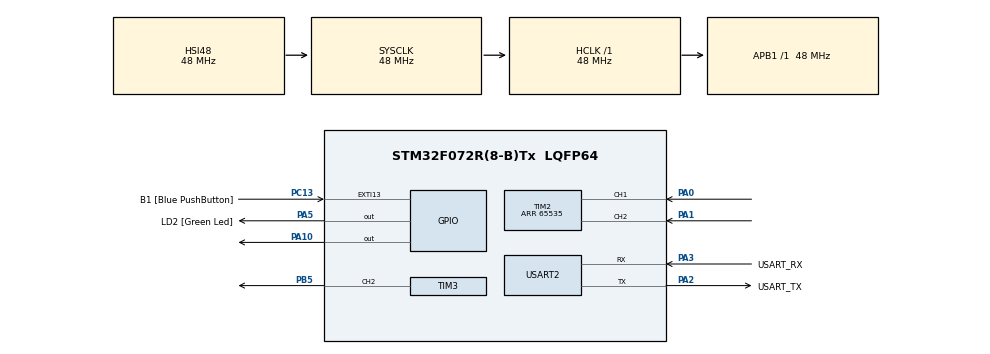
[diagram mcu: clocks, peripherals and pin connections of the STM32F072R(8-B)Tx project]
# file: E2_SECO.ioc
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Mcu.Family=STM32F0
Mcu.Name=STM32F072R(8-B)Tx
Mcu.Package=LQFP64
NVIC.TIM6_DAC_IRQn=true\:0\:0\:false\:false\:true\:true\:true
PA0.GPIO_ModeDefaultPP=GPIO_MODE_AF_PP
PA0.GPIO_PuPd=GPIO_PULLUP
PA0.GPIO_Speed=GPIO_SPEED_FREQ_LOW
PA0.Signal=S_TIM2_CH1_ETR
PA1.GPIO_PuPd=GPIO_PULLUP
PA1.Signal=S_TIM2_CH2
PA10.Signal=GPIO_Output
PA13.GPIO_Label=TMS
PA13.Mode=Serial_Wire
PA13.Signal=SYS_SWDIO
PA14.GPIO_Label=TCK
PA14.Mode=Serial_Wire
PA14.Signal=SYS_SWCLK
PA2.GPIO_Label=USART_TX
PA2.GPIO_Mode=GPIO_MODE_AF_PP
PA2.GPIO_PuPd=GPIO_NOPULL
PA2.GPIO_Speed=GPIO_SPEED_FREQ_LOW
PA2.Mode=Asynchronous
PA2.Signal=USART2_TX
PA3.GPIO_Label=USART_RX
PA3.GPIO_Mode=GPIO_MODE_AF_PP
PA3.GPIO_PuPd=GPIO_NOPULL
PA3.GPIO_Speed=GPIO_SPEED_FREQ_LOW
PA3.Mode=Asynchronous
PA3.Signal=USART2_RX
PA5.GPIO_Label=LD2 [Green Led]
PA5.GPIO_Mode=GPIO_MODE_OUTPUT_PP
PA5.GPIO_PuPd=GPIO_NOPULL
PA5.GPIO_Speed=GPIO_SPEED_FREQ_LOW
PA5.Signal=GPIO_Output
PB10.Signal=S_TIM2_CH3
PB11.Signal=S_TIM2_CH4
PB4.Signal=S_TIM3_CH1
PB5.Signal=S_TIM3_CH2
PC13.GPIO_Label=B1 [Blue PushButton]
PC13.GPIO_ModeDefaultEXTI=GPIO_MODE_IT_FALLING
PC13.Signal=GPXTI13
PC14-OSC32_IN.Mode=LSE-External-Oscillator
PC14-OSC32_IN.Signal=RCC_OSC32_IN
PC15-OSC32_OUT.Mode=LSE-External-Oscillator
PC15-OSC32_OUT.Signal=RCC_OSC32_OUT
PF0-OSC_IN.Mode=HSE-External-Clock-Source
PF0-OSC_IN.Signal=RCC_OSC_IN
PF1-OSC_OUT.Signal=RCC_OSC_OUT
ProjectManager.HeapSize=0x200
ProjectManager.StackSize=0x400
ProjectManager.TargetToolchain=STM32CubeIDE
RCC.AHBFreq_Value=48000000
RCC.APB1Freq_Value=48000000
RCC.APB1TimFreq_Value=48000000
RCC.FLatency-AdvancedSettings=FLASH_LATENCY_1
RCC.HCLKFreq_Value=48000000
RCC.PLLDivider=RCC_PREDIV_DIV2
RCC.PLLMUL=RCC_PLL_MUL12
RCC.PREFETCH_ENABLE-AdvancedSettings=1
RCC.SYSCLKFreq_VALUE=48000000
RCC.SYSCLKSource=RCC_SYSCLKSOURCE_HSI48
SH.S_TIM2_CH1_ETR.0=TIM2_CH1,Encoder_Interface
SH.S_TIM2_CH2.0=TIM2_CH2,Encoder_Interface
SH.S_TIM2_CH3.0=TIM2_CH3
SH.S_TIM2_CH4.0=TIM2_CH4
SH.S_TIM3_CH1.0=TIM3_CH1
SH.S_TIM3_CH2.0=TIM3_CH2,PWM Generation2 CH2
TIM2.EncoderMode=TIM_ENCODERMODE_TI12
TIM2.Period=65535
TIM3.Channel-PWM\ Generation2\ CH2=TIM_CHANNEL_2
TIM3.Period=99
TIM3.Prescaler=23
TIM3.Pulse-PWM\ Generation2\ CH2=0
TIM6.Period=999
TIM6.Prescaler=47
USART2.VirtualMode=VM_ASYNC
USART2.VirtualMode-Asynchronous=VM_ASYNC
VP_TIM3_VS_ClockSourceINT.Mode=Internal
VP_TIM6_VS_ClockSourceINT.Mode=Enable_Timer
board=NUCLEO-F072RB

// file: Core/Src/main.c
/* USER CODE BEGIN Header */
/**
  ******************************************************************************
  * @file           : main.c
  * @brief          : Main program body
  ******************************************************************************
  * @attention
  *
  * Copyright (c) 2022 STMicroelectronics.
  * All rights reserved.
  *
  * This software is licensed under terms that can be found in the LICENSE file
  * in the root directory of this software component.
  * If no LICENSE file comes with this software, it is provided AS-IS.
  *
  ******************************************************************************
  */
/* USER CODE END Header */
#include "main.h"

/* USER CODE BEGIN PD */
#define CPR 3592
#define MAX_COUNT 65535
#define POS 	1
int16_t start;
/* USER CODE END PD */

TIM_HandleTypeDef htim2;
TIM_HandleTypeDef htim3;
TIM_HandleTypeDef htim6;

UART_HandleTypeDef huart2;

void SystemClock_Config(void);
static void MX_GPIO_Init(void);
static void MX_USART2_UART_Init(void);
static void MX_TIM3_Init(void);
static void MX_TIM2_Init(void);
static void MX_TIM6_Init(void);
/* USER CODE BEGIN PFP */
void	move(int cycle1, int cycle2);
void	ft_move_wise(int	cycle, int	flag_w);
/* USER CODE END PFP */

int main(void)
{

  /* MCU Configuration--------------------------------------------------------*/

  /* Reset of all peripherals, Initializes the Flash interface and the Systick. */
  HAL_Init();

  /* USER CODE BEGIN Init */
  //casteo a int 16 bits para contemplar negativos

  /* USER CODE END Init */

  /* Configure the system clock */
  SystemClock_Config();

  /* Initialize all configured peripherals */
  MX_GPIO_Init();
  MX_USART2_UART_Init();
  MX_TIM3_Init();
  MX_TIM2_Init();
  MX_TIM6_Init();
  /* USER CODE BEGIN 2 */
  HAL_TIM_Base_Start_IT(&htim3);
  HAL_TIM_PWM_Start(&htim3, TIM_CHANNEL_2);
  HAL_TIM_PWM_Start(&htim3, TIM_CHANNEL_1);
  HAL_TIM_Encoder_Start_IT(&htim2, TIM_CHANNEL_ALL);
  HAL_TIM_Base_Start_IT(&htim6);
  HAL_GPIO_WritePin(GPIOA,GPIO_PIN_10, 0);
  move(0,0);
  HAL_Delay(500);
  //int	start = hti.Instance->CNT;
  /* USER CODE END 2 */

  /* Infinite loop */
  /* USER CODE BEGIN WHILE */
  //Esto hay que cambiarlo por interrupcciones del reloj y no un bucle infinito

  if (POS > 0)
	  ft_move_wise(50, 1);
  else
	  ft_move_wise(50, 0);
  HAL_GPIO_WritePin(GPIOA,GPIO_PIN_10, 1);
  __HAL_TIM_SET_COUNTER(&htim2, 0);
  start = TIM2->CNT;
  while (1)
  {
    /* USER CODE END WHILE */

    /* USER CODE BEGIN 3 */

	//  move(50, 0);
	  // Saber el valor por debugging tras unos instantes para comprobar que al menos tiene datos de entrada

	 // printf("ENCODER %lf\n", value - start);

  }
  /* USER CODE END 3 */
}

void SystemClock_Config(void)
{
  RCC_OscInitTypeDef RCC_OscInitStruct = {0};
  RCC_ClkInitTypeDef RCC_ClkInitStruct = {0};
  RCC_PeriphCLKInitTypeDef PeriphClkInit = {0};

  /** Initializes the RCC Oscillators according to the specified parameters
  * in the RCC_OscInitTypeDef structure.
  */
  RCC_OscInitStruct.OscillatorType = RCC_OSCILLATORTYPE_HSI48;
  RCC_OscInitStruct.HSI48State = RCC_HSI48_ON;
  RCC_OscInitStruct.PLL.PLLState = RCC_PLL_NONE;
  if (HAL_RCC_OscConfig(&RCC_OscInitStruct) != HAL_OK)
  {
    Error_Handler();
  }
  /** Initializes the CPU, AHB and APB buses clocks
  */
  RCC_ClkInitStruct.ClockType = RCC_CLOCKTYPE_HCLK|RCC_CLOCKTYPE_SYSCLK
                              |RCC_CLOCKTYPE_PCLK1;
  RCC_ClkInitStruct.SYSCLKSource = RCC_SYSCLKSOURCE_HSI48;
  RCC_ClkInitStruct.AHBCLKDivider = RCC_SYSCLK_DIV1;
  RCC_ClkInitStruct.APB1CLKDivider = RCC_HCLK_DIV1;

  if (HAL_RCC_ClockConfig(&RCC_ClkInitStruct, FLASH_LATENCY_1) != HAL_OK)
  {
    Error_Handler();
  }
  PeriphClkInit.PeriphClockSelection = RCC_PERIPHCLK_USART2;
  PeriphClkInit.Usart2ClockSelection = RCC_USART2CLKSOURCE_PCLK1;
  if (HAL_RCCEx_PeriphCLKConfig(&PeriphClkInit) != HAL_OK)
  {
    Error_Handler();
  }
}

static void MX_TIM2_Init(void)
{

  TIM_Encoder_InitTypeDef sConfig = {0};
  TIM_MasterConfigTypeDef sMasterConfig = {0};

  htim2.Instance = TIM2;
  htim2.Init.Prescaler = 0;
  htim2.Init.CounterMode = TIM_COUNTERMODE_UP;
  htim2.Init.Period = 65535;
  htim2.Init.ClockDivision = TIM_CLOCKDIVISION_DIV1;
  htim2.Init.AutoReloadPreload = TIM_AUTORELOAD_PRELOAD_DISABLE;
  sConfig.EncoderMode = TIM_ENCODERMODE_TI12;
  sConfig.IC1Polarity = TIM_ICPOLARITY_RISING;
  sConfig.IC1Selection = TIM_ICSELECTION_DIRECTTI;
  sConfig.IC1Prescaler = TIM_ICPSC_DIV1;
  sConfig.IC1Filter = 0;
  sConfig.IC2Polarity = TIM_ICPOLARITY_RISING;
  sConfig.IC2Selection = TIM_ICSELECTION_DIRECTTI;
  sConfig.IC2Prescaler = TIM_ICPSC_DIV1;
  sConfig.IC2Filter = 0;
  if (HAL_TIM_Encoder_Init(&htim2, &sConfig) != HAL_OK)
  {
    Error_Handler();
  }
  sMasterConfig.MasterOutputTrigger = TIM_TRGO_RESET;
  sMasterConfig.MasterSlaveMode = TIM_MASTERSLAVEMODE_DISABLE;
  if (HAL_TIMEx_MasterConfigSynchronization(&htim2, &sMasterConfig) != HAL_OK)
  {
    Error_Handler();
  }

}

static void MX_TIM3_Init(void)
{

  TIM_ClockConfigTypeDef sClockSourceConfig = {0};
  TIM_MasterConfigTypeDef sMasterConfig = {0};
  TIM_OC_InitTypeDef sConfigOC = {0};

  htim3.Instance = TIM3;
  htim3.Init.Prescaler = 23;
  htim3.Init.CounterMode = TIM_COUNTERMODE_UP;
  htim3.Init.Period = 99;
  htim3.Init.ClockDivision = TIM_CLOCKDIVISION_DIV1;
  htim3.Init.AutoReloadPreload = TIM_AUTORELOAD_PRELOAD_DISABLE;
  if (HAL_TIM_Base_Init(&htim3) != HAL_OK)
  {
    Error_Handler();
  }
  sClockSourceConfig.ClockSource = TIM_CLOCKSOURCE_INTERNAL;
  if (HAL_TIM_ConfigClockSource(&htim3, &sClockSourceConfig) != HAL_OK)
  {
    Error_Handler();
  }
  if (HAL_TIM_PWM_Init(&htim3) != HAL_OK)
  {
    Error_Handler();
  }
  sMasterConfig.MasterOutputTrigger = TIM_TRGO_RESET;
  sMasterConfig.MasterSlaveMode = TIM_MASTERSLAVEMODE_DISABLE;
  if (HAL_TIMEx_MasterConfigSynchronization(&htim3, &sMasterConfig) != HAL_OK)
  {
    Error_Handler();
  }
  sConfigOC.OCMode = TIM_OCMODE_PWM1;
  sConfigOC.Pulse = 0;
  sConfigOC.OCPolarity = TIM_OCPOLARITY_HIGH;
  sConfigOC.OCFastMode = TIM_OCFAST_DISABLE;
  if (HAL_TIM_PWM_ConfigChannel(&htim3, &sConfigOC, TIM_CHANNEL_2) != HAL_OK)
  {
    Error_Handler();
  }
  HAL_TIM_MspPostInit(&htim3);

}

static void MX_TIM6_Init(void)
{

  TIM_MasterConfigTypeDef sMasterConfig = {0};

  htim6.Instance = TIM6;
  htim6.Init.Prescaler = 47;
  htim6.Init.CounterMode = TIM_COUNTERMODE_UP;
  htim6.Init.Period = 999;
  htim6.Init.AutoReloadPreload = TIM_AUTORELOAD_PRELOAD_DISABLE;
  if (HAL_TIM_Base_Init(&htim6) != HAL_OK)
  {
    Error_Handler();
  }
  sMasterConfig.MasterOutputTrigger = TIM_TRGO_RESET;
  sMasterConfig.MasterSlaveMode = TIM_MASTERSLAVEMODE_DISABLE;
  if (HAL_TIMEx_MasterConfigSynchronization(&htim6, &sMasterConfig) != HAL_OK)
  {
    Error_Handler();
  }

}

static void MX_USART2_UART_Init(void)
{

  huart2.Instance = USART2;
  huart2.Init.BaudRate = 38400;
  huart2.Init.WordLength = UART_WORDLENGTH_8B;
  huart2.Init.StopBits = UART_STOPBITS_1;
  huart2.Init.Parity = UART_PARITY_NONE;
  huart2.Init.Mode = UART_MODE_TX_RX;
  huart2.Init.HwFlowCtl = UART_HWCONTROL_NONE;
  huart2.Init.OverSampling = UART_OVERSAMPLING_16;
  huart2.Init.OneBitSampling = UART_ONE_BIT_SAMPLE_DISABLE;
  huart2.AdvancedInit.AdvFeatureInit = UART_ADVFEATURE_NO_INIT;
  if (HAL_UART_Init(&huart2) != HAL_OK)
  {
    Error_Handler();
  }

}

static void MX_GPIO_Init(void)
{
  GPIO_InitTypeDef GPIO_InitStruct = {0};

  /* GPIO Ports Clock Enable */
  __HAL_RCC_GPIOC_CLK_ENABLE();
  __HAL_RCC_GPIOF_CLK_ENABLE();
  __HAL_RCC_GPIOA_CLK_ENABLE();
  __HAL_RCC_GPIOB_CLK_ENABLE();

  /*Configure GPIO pin Output Level */
  HAL_GPIO_WritePin(GPIOA, LD2_Pin|GPIO_PIN_10, GPIO_PIN_RESET);

  /*Configure GPIO pin : B1_Pin */
  GPIO_InitStruct.Pin = B1_Pin;
  GPIO_InitStruct.Mode = GPIO_MODE_IT_FALLING;
  GPIO_InitStruct.Pull = GPIO_NOPULL;
  HAL_GPIO_Init(B1_GPIO_Port, &GPIO_InitStruct);

  /*Configure GPIO pins : LD2_Pin PA10 */
  GPIO_InitStruct.Pin = LD2_Pin|GPIO_PIN_10;
  GPIO_InitStruct.Mode = GPIO_MODE_OUTPUT_PP;
  GPIO_InitStruct.Pull = GPIO_NOPULL;
  GPIO_InitStruct.Speed = GPIO_SPEED_FREQ_LOW;
  HAL_GPIO_Init(GPIOA, &GPIO_InitStruct);

}

/* USER CODE BEGIN 4 */
void	move(int cycle1, int cycle2)
{
	// cycle1 es horario suma al contador
//y cycle2 antihorario resta
	if (cycle1 > 99)
		cycle1 = 99;
	else if (cycle1 < 0)
		cycle1 = 0;
	else if (cycle2 > 99)
		cycle2 = 99;
	else if (cycle2  < 0)
		cycle2 = 0;
	__HAL_TIM_SET_COMPARE(&htim3, TIM_CHANNEL_2, cycle1);
	__HAL_TIM_SET_COMPARE(&htim3, TIM_CHANNEL_1, cycle2);
}

void	ft_move_wise(int	cycle, int	flag_w)
{
	if (flag_w == 1)
		move(cycle, 0);
	else
		move(0, cycle);
}

void HAL_TIM_PeriodElapsedCallback(TIM_HandleTypeDef *htim)
{
	if (htim->Instance == TIM6)
	{
	 	if (POS > 0)
	 	{
	 		if (TIM2->CNT - start >= POS*CPR)
	 		{
	 			HAL_GPIO_WritePin(GPIOA,GPIO_PIN_10, 0);
	 			move(0, 0);
	 		}
	 	}
	 	else
	 	{
	 		if (TIM2->CNT - start <= POS*CPR)
	 		{
	 			HAL_GPIO_WritePin(GPIOA,GPIO_PIN_10, 0);
	 			move(0, 0);
	 		}
	 	}
	}
}
/* USER CODE END 4 */

void Error_Handler(void)
{
  __disable_irq();
  while (1)
  {
  }
}
